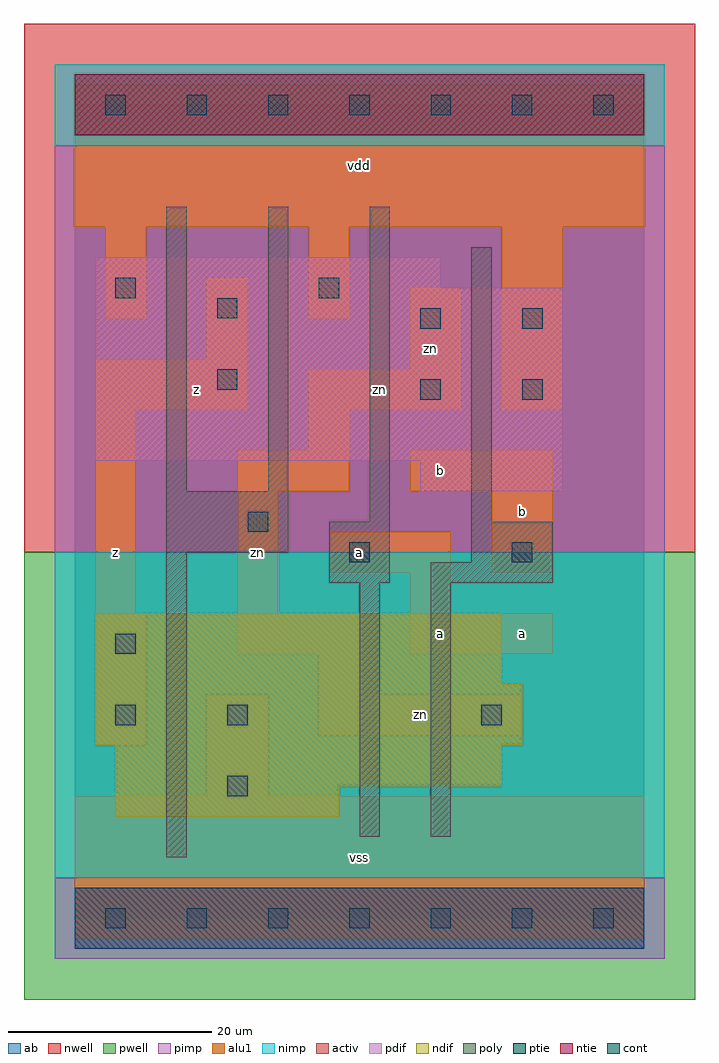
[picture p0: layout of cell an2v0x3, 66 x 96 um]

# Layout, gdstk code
import gdstk
lib = gdstk.Library(unit=1e-6, precision=1e-09)
def R(c, l, rs):  # rectangles x0, y0, x1, y1
    for r in rs: c.add(gdstk.rectangle(r[:2], r[2:], *l))
def A(c, l, x, y, w, h, nx, ny, dx, dy):  # array of equal rectangles
    R(c, l, [(x+i*dx, y+j*dy, x+i*dx+w, y+j*dy+h) for i in range(nx) for j in range(ny)])
ndif = (3, 0)
pdif = (4, 0)
ntie = (5, 0)
ptie = (6, 0)
cont = (25, 0)
pwell = (41, 0)
nwell = (42, 0)
activ = (43, 0)
pimp = (44, 0)
nimp = (45, 0)
poly = (46, 0)
alu1 = (49, 0)
ab = (63, 0)

an2v0x3 = lib.new_cell('an2v0x3')
R(an2v0x3, ndif, [(4,10,26,13), (4,13,42,17), (2,17,44,23), (2,23,42,30)])
R(an2v0x3, pdif, [(34,42,48,45), (2,45,48,62), (2,62,36,65)])
R(an2v0x3, ntie, [(0,77,56,83)])
R(an2v0x3, ptie, [(0,-3,56,3)])
A(an2v0x3, cont, 3, -1, 2, 2, 7, 2, 8, 80)
R(an2v0x3, cont, [(15,12,17,14), (4,19,6,21), (15,19,17,21), (40,19,42,21), (4,26,6,28), (27,35,29,37), (43,35,45,37), (17,38,19,40), (34,51,36,53), (44,51,46,53), (14,52,16,54), (34,58,36,60), (44,58,46,60), (14,59,16,61), (4,61,6,63), (24,61,26,63)])
R(an2v0x3, pwell, [(-5,-8,61,36)])
R(an2v0x3, nwell, [(-5,36,61,88)])
R(an2v0x3, activ, [(0,-3,56,3), (4,10,26,13), (4,13,42,17), (2,17,44,23), (2,23,42,30), (34,42,48,45), (2,45,48,62), (2,62,36,65), (0,77,56,83)])
R(an2v0x3, pimp, [(-2,-4,58,4), (-2,36,58,76)])
R(an2v0x3, nimp, [(-2,4,58,36), (-2,76,58,84)])
R(an2v0x3, poly, [(9,6,11,36), (28,8,30,33), (35,8,37,33), (25,33,31,39), (35,33,47,35), (39,35,47,39), (9,36,21,42), (29,39,31,70), (39,39,41,66), (9,42,11,70), (19,42,21,70)])
R(an2v0x3, alu1, [(0,-2,56,12), (13,12,19,22), (2,17,7,30), (24,18,44,22), (24,22,28,26), (16,26,28,30), (33,26,47,30), (2,30,6,50), (16,30,20,42), (33,30,37,34), (25,34,37,38), (41,34,47,42), (16,42,27,46), (33,42,47,46), (23,46,27,50), (2,50,17,55), (23,50,38,54), (42,50,48,68), (33,54,38,62), (13,55,17,63), (3,59,7,68), (23,59,27,68), (0,68,56,82)])
R(an2v0x3, ab, [(0,0,56,80)])
an2v0x3.add(gdstk.Label('zn', (18,36), layer=49, texttype=0))
an2v0x3.add(gdstk.Label('zn', (30,52), layer=49, texttype=0))
an2v0x3.add(gdstk.Label('zn', (35,56), layer=49, texttype=0))
an2v0x3.add(gdstk.Label('zn', (34,20), layer=49, texttype=0))
an2v0x3.add(gdstk.Label('z', (4,36), layer=49, texttype=0))
an2v0x3.add(gdstk.Label('z', (12,52), layer=49, texttype=0))
an2v0x3.add(gdstk.Label('vss', (28,6), layer=49, texttype=0))
an2v0x3.add(gdstk.Label('a', (28,36), layer=49, texttype=0))
an2v0x3.add(gdstk.Label('a', (36,28), layer=49, texttype=0))
an2v0x3.add(gdstk.Label('b', (36,44), layer=49, texttype=0))
an2v0x3.add(gdstk.Label('vdd', (28,74), layer=49, texttype=0))
an2v0x3.add(gdstk.Label('a', (44,28), layer=49, texttype=0))
an2v0x3.add(gdstk.Label('b', (44,40), layer=49, texttype=0))

lib.write_gds('an2v0x3.gds')
